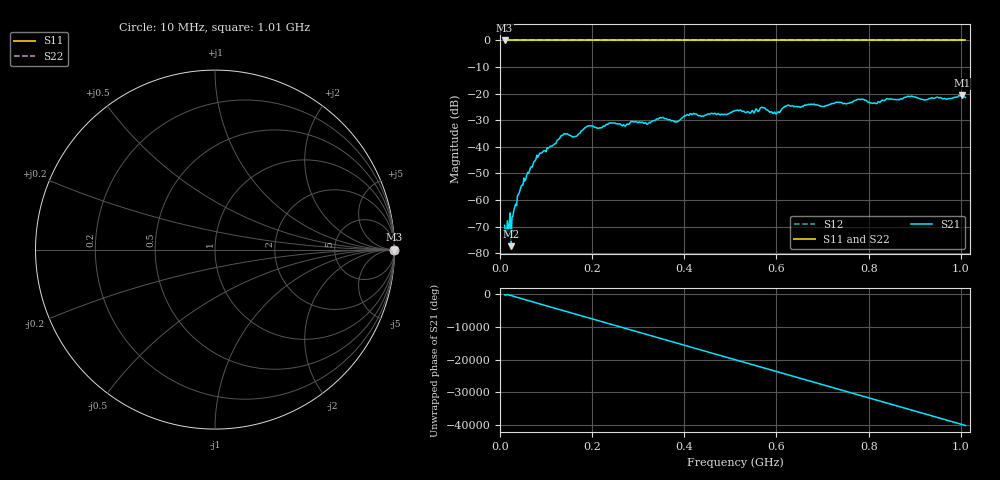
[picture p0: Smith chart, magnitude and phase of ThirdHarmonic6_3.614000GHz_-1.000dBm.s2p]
! 8/17/2025 12:04:56 PM
! C:\ANRITSUVNA\TEMP\TEMP.S2P
! CHANNEL.1
! TR.MEASUREMENT
! RAW.DATA
! RF.CORRECTION.OFF
! AVERAGING.OFF
! IF.BANDWIDTH: 5KHZ
! SWEEPTYPE:  FREQ.SWEEP(Linear)
! Reference Plane Port Info
! PORT:  PORT1  PORT2
! DISTANCE:  0  m  0  m
! TIME:  0  s  0  s
! PHASE.OFFSET:  0  deg.  0  deg.
! LOSS:  0  dB  0  dB
! REF.LOSS:  0  dB  0  dB
! REF.FREQ:  0  Hz  0  Hz
! Power Info
! POWER:  -20  dBm  -20  dBm
! EFF.POWER:  -20  dBm  -20  dBm
! SOURCE.ATTEN:  0  dB  0  dB
! TEST.ATTEN:  0  dB  0  dB
# GHZ S RI R 50.0
! FREQ.GHZ  S11RE  S11IM  S21RE  S21IM  S12RE  S12IM  S22RE  S22IM
!; PortSelection: Port_12
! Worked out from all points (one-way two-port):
!   501 points, 10 MHz to 1.01 GHz, reference 50 ohm
!   highest |S21| = -20.67 dB at 1.002 GHz (marker M1); lowest = -77.3 dB at 24 MHz (marker M2)
!   lowest |S11| = 0.0 dB at 10 MHz (marker M3)
!   |S11| at or under -10 dB: nowhere
!   |S22| runs from 0.0 to 0.0 dB; largest |S21 - S12| = 1.1
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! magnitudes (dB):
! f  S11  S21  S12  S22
! 10 MHz  0.0  -69.5  0.0  0.0
! 24 MHz  0.0  -77.3  0.0  0.0
! 42 MHz  0.0  -57.2  0.0  0.0
! 82 MHz  0.0  -43.9  0.0  0.0
! 136 MHz  0.0  -35.6  0.0  0.0
! 162 MHz  0.0  -36.2  0.0  0.0
! 178 MHz  0.0  -33.9  0.0  0.0
! 192 MHz  0.0  -32.2  0.0  0.0
! 322 MHz  0.0  -31.1  0.0  0.0
! 344 MHz  0.0  -29.5  0.0  0.0
! 382 MHz  0.0  -30.5  0.0  0.0
! 410 MHz  0.0  -28.1  0.0  0.0
! 510 MHz  0.0  -26.5  0.0  0.0
! 570 MHz  0.0  -25.2  0.0  0.0
! 596 MHz  0.0  -26.9  0.0  0.0
! 622 MHz  0.0  -24.6  0.0  0.0
! 678 MHz  0.0  -24.1  0.0  0.0
! 782 MHz  0.0  -22.2  0.0  0.0
! 814 MHz  0.0  -23.6  0.0  0.0
! 844 MHz  0.0  -22.1  0.0  0.0
! 1.002 GHz  0.0  -20.7  0.0  0.0
! 1.01 GHz  0.0  -21.4  0.0  0.0
